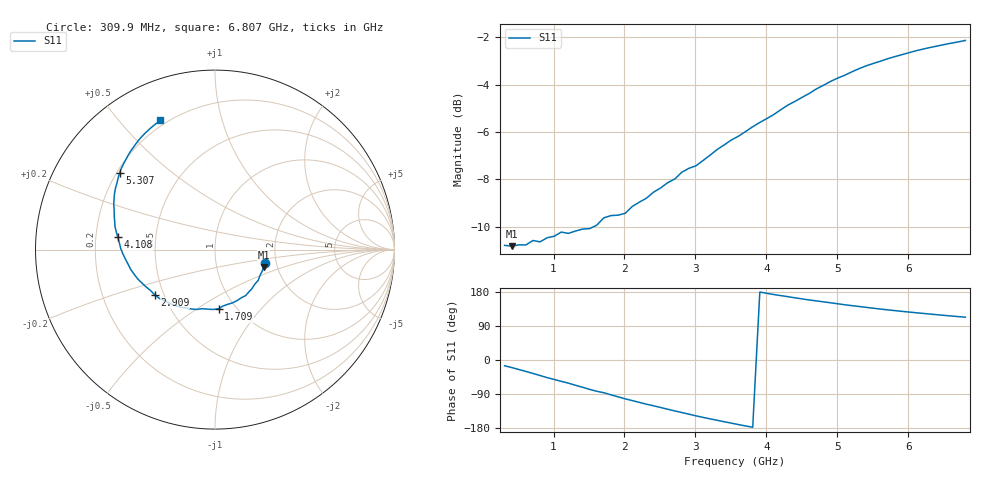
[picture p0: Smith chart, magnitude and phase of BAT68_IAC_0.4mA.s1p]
! Infineon Technologies  Discrete & RF Semiconductors
! BAT68
! IAC = 0.4 mA
! One-Port S-Parameters
# Hz  S  MA  R  50
!f  S11
!Hz  Mag  Ang
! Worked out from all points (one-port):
!   66 points, 309.9 MHz to 6.807 GHz, reference 50 ohm
!   lowest |S11| = -10.8 dB at 409.8 MHz (marker M1), VSWR 1.81, Z = 84.6 - j18.1 ohm
!   |S11| at or under -10 dB: start of sweep to 1.567 GHz
!   S11 on the Smith chart (normalised r, x): 309.9 MHz: 1.74, -0.29; 1.709 GHz: 0.83, -0.62; 2.909 GHz: 0.45, -0.27; 4.108 GHz: 0.29, +0.06; 5.307 GHz: 0.21, +0.34; 6.807 GHz: 0.17, +0.65
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3.0985e8  0.2886 -15.2
4.098e8  0.2875 -19.9
6.097e8  0.2892 -30.2
7.0965e8  0.2956 -35.5
8.096e8  0.2936 -40.9
1.10945e9  0.308 -56.4
1.2094e9  0.306 -61.1
1.50925e9  0.3132 -77.6
1.70915e9  0.33 -86.4
2.009e9  0.3373 -102.4
2.10895e9  0.3488 -107.1
2.4088e9  0.3738 -120.8
2.8086e9  0.412 -138.6
2.90855e9  0.4199 -143.0
3.0085e9  0.4251 -147.4
3.30835e9  0.4604 -159.1
3.6082e9  0.491 -170.5
3.8081e9  0.5141 -177.4
4.10795e9  0.5459 172.7
4.4078e9  0.5819 163.9
4.70765e9  0.618 155.9
4.90755e9  0.641 150.9
5.2074e9  0.6715 143.4
5.30735e9  0.6818 141.2
5.6072e9  0.7068 134.5
6.007e9  0.7366 126.6
6.30685e9  0.7556 121.2
6.8066e9  0.7821 112.9
